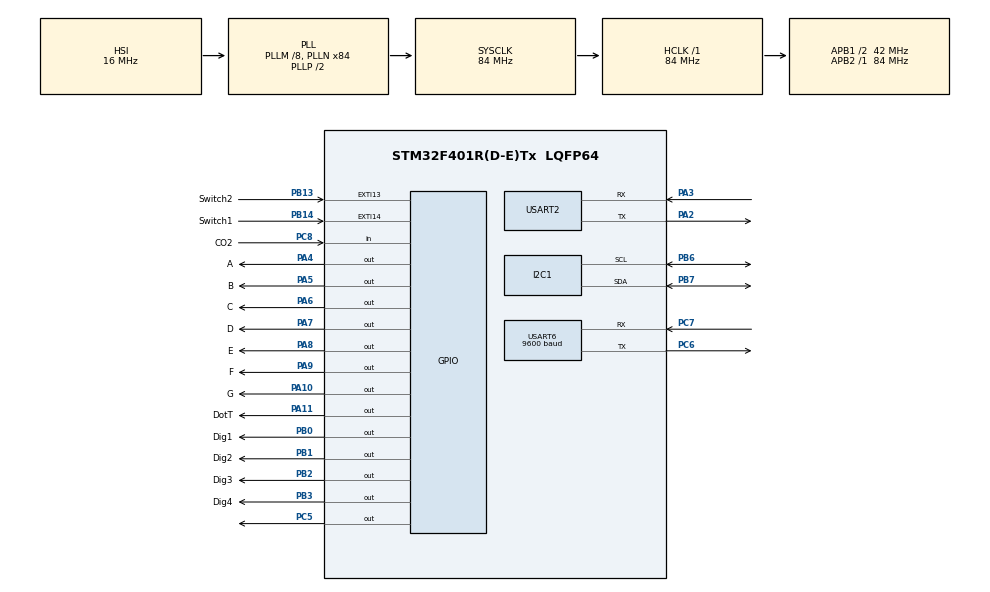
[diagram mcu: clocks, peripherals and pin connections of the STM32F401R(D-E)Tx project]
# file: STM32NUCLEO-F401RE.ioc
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Mcu.Family=STM32F4
Mcu.Name=STM32F401R(D-E)Tx
Mcu.Package=LQFP64
NVIC.EXTI15_10_IRQn=true\:0\:0\:false\:true\:true\:2\:true\:true
NVIC.PriorityGroup=NVIC_PRIORITYGROUP_0
NVIC.RCC_IRQn=true\:0\:0\:false\:false\:true\:true\:false
NVIC.TIM1_TRG_COM_TIM11_IRQn=true\:0\:0\:false\:true\:true\:1\:true\:true
NVIC.TIM1_UP_TIM10_IRQn=true\:0\:0\:false\:false\:true\:false\:true
NVIC.TIM2_IRQn=true\:0\:0\:false\:false\:true\:true\:true
NVIC.TimeBase=TIM1_UP_TIM10_IRQn
NVIC.TimeBaseIP=TIM1
NVIC.USART6_IRQn=true\:0\:0\:false\:false\:true\:true\:true
PA10.GPIO_Label=G
PA10.Signal=GPIO_Output
PA11.GPIO_Label=DotT
PA11.Signal=GPIO_Output
PA13.Mode=Serial_Wire
PA13.Signal=SYS_JTMS-SWDIO
PA14.Mode=Serial_Wire
PA14.Signal=SYS_JTCK-SWCLK
PA2.Mode=Asynchronous
PA2.Signal=USART2_TX
PA3.Mode=Asynchronous
PA3.Signal=USART2_RX
PA4.GPIO_Label=A
PA4.Signal=GPIO_Output
PA5.GPIO_Label=B
PA5.Signal=GPIO_Output
PA6.GPIO_Label=C
PA6.Signal=GPIO_Output
PA7.GPIO_Label=D
PA7.Signal=GPIO_Output
PA8.GPIO_Label=E
PA8.Signal=GPIO_Output
PA9.GPIO_Label=F
PA9.Signal=GPIO_Output
PB0.GPIO_Label=Dig1
PB0.Signal=GPIO_Output
PB1.GPIO_Label=Dig2
PB1.Signal=GPIO_Output
PB13.GPIO_Label=Switch2
PB13.GPIO_PuPd=GPIO_PULLDOWN
PB13.Signal=GPXTI13
PB14.GPIO_Label=Switch1
PB14.GPIO_PuPd=GPIO_PULLDOWN
PB14.Signal=GPXTI14
PB2.GPIO_Label=Dig3
PB2.Signal=GPIO_Output
PB3.GPIO_Label=Dig4
PB3.Signal=GPIO_Output
PB6.GPIO_Pu=GPIO_PULLUP
PB6.Mode=I2C
PB6.Signal=I2C1_SCL
PB7.GPIO_Pu=GPIO_PULLUP
PB7.Mode=I2C
PB7.Signal=I2C1_SDA
PC5.Signal=GPIO_Output
PC6.Mode=Asynchronous
PC6.Signal=USART6_TX
PC7.Mode=Asynchronous
PC7.Signal=USART6_RX
PC8.GPIO_Label=CO2
PC8.Signal=GPIO_Input
PH0\ -\ OSC_IN.Mode=HSE-External-Oscillator
PH0\ -\ OSC_IN.Signal=RCC_OSC_IN
PH1\ -\ OSC_OUT.Mode=HSE-External-Oscillator
PH1\ -\ OSC_OUT.Signal=RCC_OSC_OUT
ProjectManager.HeapSize=0x200
ProjectManager.StackSize=0x400
ProjectManager.TargetToolchain=STM32CubeIDE
RCC.48MHZClocksFreq_Value=24000000
RCC.AHBFreq_Value=84000000
RCC.APB1CLKDivider=RCC_HCLK_DIV2
RCC.APB1Freq_Value=42000000
RCC.APB1TimFreq_Value=84000000
RCC.APB2Freq_Value=84000000
RCC.APB2TimFreq_Value=84000000
RCC.CortexFreq_Value=84000000
RCC.HCLKFreq_Value=84000000
RCC.HSE_VALUE=8000000
RCC.HSI_VALUE=16000000
RCC.LSE_VALUE=32768
RCC.PLLM=8
RCC.PLLN=84
RCC.PLLQ=7
RCC.SYSCLKFreq_VALUE=84000000
RCC.SYSCLKSource=RCC_SYSCLKSOURCE_PLLCLK
RCC.VCOOutputFreq_Value=168000000
TIM10.Period=8400-1
TIM10.Prescaler=10000-1
TIM11.Period=840-1
TIM11.Prescaler=100-1
TIM2.Period=0xffff-1
TIM2.Prescaler=84-1
USART2.VirtualMode=VM_ASYNC
USART6.BaudRate=9600
USART6.VirtualMode=VM_ASYNC
VP_SYS_VS_tim1.Mode=TIM1
VP_TIM10_VS_ClockSourceINT.Mode=Enable_Timer
VP_TIM11_VS_ClockSourceINT.Mode=Enable_Timer
VP_TIM2_VS_ClockSourceINT.Mode=Internal
board=NUCLEO-F401RE

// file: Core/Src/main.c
/* USER CODE BEGIN Header */
/**
  ******************************************************************************
  * @file           : main.c
  * @brief          : Main program body
  ******************************************************************************
  * @attention
  *
  * <h2><center>&copy; Copyright (c) 2021 STMicroelectronics.
  * All rights reserved.</center></h2>
  *
  * This software component is licensed by ST under BSD 3-Clause license,
  * the "License"; You may not use this file except in compliance with the
  * License. You may obtain a copy of the License at:
  *                        opensource.org/licenses/BSD-3-Clause
  *
  ******************************************************************************
  */
/* USER CODE END Header */
#include "main.h"

/* USER CODE BEGIN Includes */
#include "lcd16x2_i2c.h"
#include "stm32f4xx_hal.h"
#include <stdio.h>
#include <stdlib.h>

/* USER CODE END Includes */

I2C_HandleTypeDef hi2c1;

TIM_HandleTypeDef htim2;
TIM_HandleTypeDef htim10;
TIM_HandleTypeDef htim11;

UART_HandleTypeDef huart2;
UART_HandleTypeDef huart6;

/* USER CODE BEGIN PV */

//세그먼트 변수
int Seg_Out = 525; //세그먼트에 표시될 숫자
char second = 0; //세그먼트용 60초 카운트
uint8_t ms = 0; //세그먼트3ms 카운트
int segdig = 0;//세그먼트 출력 자릿수 지정

//Uart 변수
uint8_t rx2_data;
char Uart_Loop_Time = 0;//Uart 10초 카운트
uint8_t rx6_data[56];//uart6 버퍼

//LCD 변수
char Line1[17];
char Line2[17];
char lcd = -3; //LCD 시간 카운트

//온습도

float temp_Humi[2] = {0.0, 0.0};
float temp = 0;
float humi = 0;
char DHT22_Loop_Time = -1;//온습도 5초마다 측정
char DHT22_Elapsed_Time = 0;
char DHT22_Stat_Check = 0;

//Co2
int C; //CO2 level
char CO2_Pin_State= 0;//현재 핀 상태
char OLD_CO2_Pin_State = 0;//이전 핀 상태
uint32_t CO2ms = 0; //CO2PWM 주기 카운트 시간
int rising_time;//라이징 엣지 시간
int falling_time;// 폴링엣지 시간
int rerising_time;//다음 주기 라이징 엣지 시간
char rising_check = 0;  //타이머에서 어떤거 체크할 순서인지 기록
char falling_check = 0;
char rerising_check = 0;
uint32_t TH; // High 시간
uint32_t TL; //Low 시간

//먼지 센서
int dust = 0;
char Dust_time = 0;

//디버그, 개발용 변수
uint32_t Old_Loop_Count = 0;
uint32_t Loop_Count;

/* USER CODE END PV */

void SystemClock_Config(void);
static void MX_GPIO_Init(void);
static void MX_I2C1_Init(void);
static void MX_TIM10_Init(void);
static void MX_TIM11_Init(void);
static void MX_USART2_UART_Init(void);
static void MX_TIM2_Init(void);
static void MX_USART6_UART_Init(void);
static void MX_NVIC_Init(void);

/* USER CODE BEGIN 0 */
void HAL_TIM_PeriodElapsedCallback(TIM_HandleTypeDef *htim);

void Seg_Off(void){//다음 세그먼트 출력전 모두 꺼서 잔상 없애기
	HAL_GPIO_WritePin(GPIOA, A_Pin|B_Pin|C_Pin|D_Pin|E_Pin|F_Pin|G_Pin, 0); //세그먼트 구성 핀 모두 끄기
	HAL_GPIO_WritePin(GPIOB, Dig1_Pin|Dig2_Pin|Dig3_Pin|Dig4_Pin, 1); //세그먼트 Dgit핀 모두 끄기
}

void Segment() { //세그먼트 숫자 출력
	unsigned char List_Of_Segment_Info[10] = { 0xC0, 0xF9, 0xA4, 0xB0, 0x99,
			0x92, 0x82, 0xD8, 0x80, 0x98 };
	int addr[4];
	Seg_Off(); // 모든 세그먼트 끄기

	if (Seg_Out % 100 == 60) { //60분, 24시간 카운트
		Seg_Out += 40;
	} else if (Seg_Out >= 2400) {
		Seg_Out = 0;
	}

	addr[0] = Seg_Out / 1000;
	addr[1] = Seg_Out % 1000 / 100;
	addr[2] = Seg_Out % 100 / 10;
	addr[3] = Seg_Out % 10;

	uint16_t i[4] = { 1, 2, 4, 8 }; //세그먼트 Dgit 조정
	HAL_GPIO_WritePin(GPIOB, i[segdig], 0);

	uint16_t j = 0; //출력 핀과 입력 값의 비트연산을 위한 변수

	j |= (~(List_Of_Segment_Info[addr[segdig]] & 0xFF)) << 4; //PA4 부터로 옮기고시프트 4로 변경
	HAL_GPIO_WritePin(GPIOA, j, 1);

	segdig++;
	if (segdig == 4) {
		segdig = 0;
	}

}

void check_Dust() {

	uint8_t dust_Check_Uart_String[10] = { 0x11, 0x02, 0x0B, 0x07, 0xDB };
	HAL_UART_Transmit(&huart6, (uint8_t*) dust_Check_Uart_String, 5, 0xFF);

}

void check_CO2(){

	TH =  falling_time - rising_time;
	TL = rerising_time - falling_time;
	C = 2000*(TH-2)/(TH+TL-4)+250;

	rising_time = 0;
	falling_time  = 0;
	rerising_time = 0;

}

void LCD_Load_Print() {

	sprintf(Line1, "Air-Alarm V1.0.0");
	sprintf(Line2, "Air Monitor");
	lcd16x2_i2c_clear();
	lcd16x2_i2c_setCursor(0, 0);
	lcd16x2_i2c_printf(Line1);
	lcd16x2_i2c_setCursor(1, 0);
	lcd16x2_i2c_printf(Line2);
	lcd = 0;

}

void DHT_Startbit() {
	GPIO_InitTypeDef GPIO_InitStruct = { 0 }; //아웃풋 모드로 변경
	HAL_GPIO_WritePin(GPIOC, GPIO_PIN_5, 1);
	GPIO_InitStruct.Pin = GPIO_PIN_5;
	GPIO_InitStruct.Mode = GPIO_MODE_OUTPUT_OD;
	GPIO_InitStruct.Pull = GPIO_PULLUP;
	GPIO_InitStruct.Speed = GPIO_SPEED_FREQ_HIGH;
	HAL_GPIO_Init(GPIOC, &GPIO_InitStruct);

	HAL_GPIO_WritePin(GPIOC, GPIO_PIN_5, 0);

}

char DHT_getData() { // 다음 측정주기까지1ms 이상 여유 있어야함.
	HAL_GPIO_WritePin(GPIOC, GPIO_PIN_5, 1);

	GPIO_InitTypeDef GPIO_InitStruct = { 0 }; //인풋 모드로 변경
	GPIO_InitStruct.Pin = GPIO_PIN_5;
	GPIO_InitStruct.Mode = GPIO_MODE_INPUT;
	GPIO_InitStruct.Pull = GPIO_PULLUP;
	HAL_GPIO_Init(GPIOC, &GPIO_InitStruct);

	uint16_t timeout = 0;
	while (HAL_GPIO_ReadPin(GPIOC, GPIO_PIN_5)) {
		timeout++;
		if (timeout > 10000)
			return 1; //10000회 반복동안 값 안들어오면 측정하지 않고 리턴
	}
	timeout = 0;

	while (!(HAL_GPIO_ReadPin(GPIOC, GPIO_PIN_5))) {
		timeout++;
		if (timeout > 10000)
			return 1;
	}
	timeout = 0;

	while (HAL_GPIO_ReadPin(GPIOC, GPIO_PIN_5)) {
		timeout++;
		if (timeout > 10000)
			return 1;
	}

	uint8_t rawData[5] = { 0, 0, 0, 0, 0 };
	for (uint8_t a = 0; a < 5; a++) {
		for (uint8_t b = 7; b != 255; b--) {
			uint32_t hT = 0, lT = 0;

			while (!(HAL_GPIO_ReadPin(GPIOC, GPIO_PIN_5)))
				lT++;

			timeout = 0;
			while (HAL_GPIO_ReadPin(GPIOC, GPIO_PIN_5))
				hT++;
			if (hT > lT)
				rawData[a] |= (1 << b);
		}
	}

	if ((uint8_t) (rawData[0] + rawData[1] + rawData[2] + rawData[3])
			== rawData[4]) { //오류 검사
		temp_Humi[1] = (float) (((uint16_t) rawData[0] << 8) | rawData[1])
				* 0.1f;
		if (!(rawData[2] & (1 << 7))) {

			temp_Humi[0] = (float) (((uint16_t) rawData[2] << 8) | rawData[3])
					* 0.1f;
		} else {
			rawData[2] &= ~(1 << 7);
			temp_Humi[0] = (float) (((uint16_t) rawData[2] << 8) | rawData[3])
					* -0.1f;
		}
	}
	return 0; // 정상 종료
}

void HAL_GPIO_EXTI_Callback(uint16_t GPIO_Pin) //GPIO 인터럽트 콜백
{

	if (GPIO_Pin == 0x2000) {	//버튼 눌르면 1분 올리기

		int gap =
				Loop_Count < Old_Loop_Count ?
						Old_Loop_Count - Loop_Count :
						Loop_Count - Old_Loop_Count;

		if (gap > 150) {
			Seg_Out++;

		}
		Old_Loop_Count = Loop_Count;
	}

	else if (GPIO_Pin == 0x4000) {

		int gap =
				Loop_Count < Old_Loop_Count ?
						Old_Loop_Count - Loop_Count :
						Loop_Count - Old_Loop_Count;

		if (gap > 150) {
			Seg_Out = Seg_Out + 100; //1시간 올리기

		}
		Old_Loop_Count = Loop_Count;

	}

	/* Prevent unused argument(s) compilation warning */
	UNUSED(GPIO_Pin);
	/* NOTE: This function Should not be modified, when the callback is needed,
	 the HAL_GPIO_EXTI_Callback could be implemented in the user file
	 */
}

void HAL_UART_RxCpltCallback(UART_HandleTypeDef *huart) {

	if (huart->Instance == USART6) {
		if (rx6_data[0] == 0x16) {
			char DF9 = rx6_data[11];
			char DF10 = rx6_data[12];
			char DF11 = rx6_data[13];
			char DF12 = rx6_data[14];
			dust = (DF9 << 24) + (DF10 << 16) + (DF11 << 8) + DF12;
			HAL_UART_Receive_IT(&huart6, (uint8_t*) rx6_data, 56);

		}

	}

}

/* USER CODE END 0 */

int main(void)
{

  /* MCU Configuration--------------------------------------------------------*/

  /* Reset of all peripherals, Initializes the Flash interface and the Systick. */
  HAL_Init();

  /* Configure the system clock */
  SystemClock_Config();

  /* Initialize all configured peripherals */
  MX_GPIO_Init();
  MX_I2C1_Init();
  MX_TIM10_Init();
  MX_TIM11_Init();
  MX_USART2_UART_Init();
  MX_TIM2_Init();
  MX_USART6_UART_Init();

  /* Initialize interrupts */
  MX_NVIC_Init();
  /* USER CODE BEGIN 2 */
  HAL_UART_Receive_IT(&huart6, (uint8_t*)rx6_data, 56);//Uart6 리시브 인터럽트 활성화
  HAL_TIM_Base_Start_IT(&htim10);//타이머 10 시작 1ms
  HAL_TIM_Base_Start_IT(&htim11);//타이머 11 시작 1s
  if(lcd16x2_i2c_init(&hi2c1)){//LCD init 하기
 	 HAL_GPIO_WritePin(GPIOC, GPIO_PIN_10, 1);
  }
  lcd16x2_i2c_clear();

  LCD_Load_Print();
  rising_check = 1;//Co2 라이징 포인트부터 잡기

  /* USER CODE END 2 */

  /* Infinite loop */
  /* USER CODE BEGIN WHILE */
  while (1)
  {

		if (ms > 1) {
			Segment(); //1ms마다 세븐세그먼트를 출력
			ms = 0;
		}

		if (rising_time < falling_time && falling_time < rerising_time) {//Co2 측정
			check_CO2();
		}

		if (Dust_time > 4) {//미세먼지 측정
			check_Dust();
			Dust_time = 0;
		}

		if (DHT22_Loop_Time > 5 || DHT22_Loop_Time == -1) //5초마다 온도 측정 스타트 비트 실행하고 진행
				{
			if (DHT22_Stat_Check == 0) {
				DHT_Startbit();
				DHT22_Elapsed_Time = 0;
				DHT22_Stat_Check = 1;
			}
		}

		if (DHT22_Stat_Check && DHT22_Elapsed_Time > 17) //스타트 비트 출력 17ms 이상 경과한경우 읽기 시작
				{
			char DHT_Return = DHT_getData();
			if (DHT_Return == 1) { //타임아웃 리턴받은경우 다음 루프때 다시 측정하기
				DHT22_Loop_Time = -1;
			}
			DHT22_Stat_Check = 0;
			DHT22_Loop_Time = 0;
		}

		if (lcd > 5 || lcd == -1) {//10초마다 LCD 출력
			sprintf(Line1, "T: %2.1f  D: %d", temp_Humi[0], dust);
			sprintf(Line2, "H: %2.1f  C: %d", temp_Humi[1], C);
			lcd16x2_i2c_clear();
			lcd16x2_i2c_setCursor(0, 0);
			lcd16x2_i2c_printf(Line1);
			lcd16x2_i2c_setCursor(1, 0);
			lcd16x2_i2c_printf(Line2);
			lcd = 0;
		}

		if (Uart_Loop_Time >= 10) {//10초마다 Uart 라즈베리파이로 전송
			char msg[40];
			sprintf(msg, "W:%d,T:%2.1f,H:%2.1f,D:%d,C:%d\n", Seg_Out,
					temp_Humi[0], temp_Humi[1], dust, C);
			HAL_UART_Transmit(&huart2, (uint8_t*) msg, strlen(msg), 0xFF);
			Uart_Loop_Time = 0;
		}

    /* USER CODE END WHILE */

  }
}

void SystemClock_Config(void)
{
  RCC_OscInitTypeDef RCC_OscInitStruct = {0};
  RCC_ClkInitTypeDef RCC_ClkInitStruct = {0};

  /** Configure the main internal regulator output voltage
  */
  __HAL_RCC_PWR_CLK_ENABLE();
  __HAL_PWR_VOLTAGESCALING_CONFIG(PWR_REGULATOR_VOLTAGE_SCALE2);
  /** Initializes the RCC Oscillators according to the specified parameters
  * in the RCC_OscInitTypeDef structure.
  */
  RCC_OscInitStruct.OscillatorType = RCC_OSCILLATORTYPE_HSI;
  RCC_OscInitStruct.HSIState = RCC_HSI_ON;
  RCC_OscInitStruct.HSICalibrationValue = RCC_HSICALIBRATION_DEFAULT;
  RCC_OscInitStruct.PLL.PLLState = RCC_PLL_ON;
  RCC_OscInitStruct.PLL.PLLSource = RCC_PLLSOURCE_HSI;
  RCC_OscInitStruct.PLL.PLLM = 8;
  RCC_OscInitStruct.PLL.PLLN = 84;
  RCC_OscInitStruct.PLL.PLLP = RCC_PLLP_DIV2;
  RCC_OscInitStruct.PLL.PLLQ = 7;
  if (HAL_RCC_OscConfig(&RCC_OscInitStruct) != HAL_OK)
  {
    Error_Handler();
  }
  /** Initializes the CPU, AHB and APB buses clocks
  */
  RCC_ClkInitStruct.ClockType = RCC_CLOCKTYPE_HCLK|RCC_CLOCKTYPE_SYSCLK
                              |RCC_CLOCKTYPE_PCLK1|RCC_CLOCKTYPE_PCLK2;
  RCC_ClkInitStruct.SYSCLKSource = RCC_SYSCLKSOURCE_PLLCLK;
  RCC_ClkInitStruct.AHBCLKDivider = RCC_SYSCLK_DIV1;
  RCC_ClkInitStruct.APB1CLKDivider = RCC_HCLK_DIV2;
  RCC_ClkInitStruct.APB2CLKDivider = RCC_HCLK_DIV1;

  if (HAL_RCC_ClockConfig(&RCC_ClkInitStruct, FLASH_LATENCY_2) != HAL_OK)
  {
    Error_Handler();
  }
}

/**
  * @brief NVIC Configuration.
  * @retval None
  */
static void MX_NVIC_Init(void)
{
  /* TIM1_TRG_COM_TIM11_IRQn interrupt configuration */
  HAL_NVIC_SetPriority(TIM1_TRG_COM_TIM11_IRQn, 0, 0);
  HAL_NVIC_EnableIRQ(TIM1_TRG_COM_TIM11_IRQn);
  /* EXTI15_10_IRQn interrupt configuration */
  HAL_NVIC_SetPriority(EXTI15_10_IRQn, 0, 0);
  HAL_NVIC_EnableIRQ(EXTI15_10_IRQn);
}

static void MX_I2C1_Init(void)
{

  hi2c1.Instance = I2C1;
  hi2c1.Init.ClockSpeed = 100000;
  hi2c1.Init.DutyCycle = I2C_DUTYCYCLE_2;
  hi2c1.Init.OwnAddress1 = 0;
  hi2c1.Init.AddressingMode = I2C_ADDRESSINGMODE_7BIT;
  hi2c1.Init.DualAddressMode = I2C_DUALADDRESS_DISABLE;
  hi2c1.Init.OwnAddress2 = 0;
  hi2c1.Init.GeneralCallMode = I2C_GENERALCALL_DISABLE;
  hi2c1.Init.NoStretchMode = I2C_NOSTRETCH_DISABLE;
  if (HAL_I2C_Init(&hi2c1) != HAL_OK)
  {
    Error_Handler();
  }

}

static void MX_TIM2_Init(void)
{

  TIM_ClockConfigTypeDef sClockSourceConfig = {0};
  TIM_MasterConfigTypeDef sMasterConfig = {0};

  htim2.Instance = TIM2;
  htim2.Init.Prescaler = 84-1;
  htim2.Init.CounterMode = TIM_COUNTERMODE_UP;
  htim2.Init.Period = 0xffff-1;
  htim2.Init.ClockDivision = TIM_CLOCKDIVISION_DIV1;
  htim2.Init.AutoReloadPreload = TIM_AUTORELOAD_PRELOAD_DISABLE;
  if (HAL_TIM_Base_Init(&htim2) != HAL_OK)
  {
    Error_Handler();
  }
  sClockSourceConfig.ClockSource = TIM_CLOCKSOURCE_INTERNAL;
  if (HAL_TIM_ConfigClockSource(&htim2, &sClockSourceConfig) != HAL_OK)
  {
    Error_Handler();
  }
  sMasterConfig.MasterOutputTrigger = TIM_TRGO_RESET;
  sMasterConfig.MasterSlaveMode = TIM_MASTERSLAVEMODE_DISABLE;
  if (HAL_TIMEx_MasterConfigSynchronization(&htim2, &sMasterConfig) != HAL_OK)
  {
    Error_Handler();
  }

}

static void MX_TIM10_Init(void)
{

  htim10.Instance = TIM10;
  htim10.Init.Prescaler = 10000-1;
  htim10.Init.CounterMode = TIM_COUNTERMODE_UP;
  htim10.Init.Period = 8400-1;
  htim10.Init.ClockDivision = TIM_CLOCKDIVISION_DIV1;
  htim10.Init.AutoReloadPreload = TIM_AUTORELOAD_PRELOAD_DISABLE;
  if (HAL_TIM_Base_Init(&htim10) != HAL_OK)
  {
    Error_Handler();
  }

}

static void MX_TIM11_Init(void)
{

  htim11.Instance = TIM11;
  htim11.Init.Prescaler = 100-1;
  htim11.Init.CounterMode = TIM_COUNTERMODE_UP;
  htim11.Init.Period = 840-1;
  htim11.Init.ClockDivision = TIM_CLOCKDIVISION_DIV1;
  htim11.Init.AutoReloadPreload = TIM_AUTORELOAD_PRELOAD_DISABLE;
  if (HAL_TIM_Base_Init(&htim11) != HAL_OK)
  {
    Error_Handler();
  }

}

static void MX_USART2_UART_Init(void)
{

  huart2.Instance = USART2;
  huart2.Init.BaudRate = 9600;
  huart2.Init.WordLength = UART_WORDLENGTH_8B;
  huart2.Init.StopBits = UART_STOPBITS_1;
  huart2.Init.Parity = UART_PARITY_NONE;
  huart2.Init.Mode = UART_MODE_TX_RX;
  huart2.Init.HwFlowCtl = UART_HWCONTROL_NONE;
  huart2.Init.OverSampling = UART_OVERSAMPLING_16;
  if (HAL_UART_Init(&huart2) != HAL_OK)
  {
    Error_Handler();
  }

}

static void MX_USART6_UART_Init(void)
{

  huart6.Instance = USART6;
  huart6.Init.BaudRate = 9600;
  huart6.Init.WordLength = UART_WORDLENGTH_8B;
  huart6.Init.StopBits = UART_STOPBITS_1;
  huart6.Init.Parity = UART_PARITY_NONE;
  huart6.Init.Mode = UART_MODE_TX_RX;
  huart6.Init.HwFlowCtl = UART_HWCONTROL_NONE;
  huart6.Init.OverSampling = UART_OVERSAMPLING_16;
  if (HAL_UART_Init(&huart6) != HAL_OK)
  {
    Error_Handler();
  }

}

static void MX_GPIO_Init(void)
{
  GPIO_InitTypeDef GPIO_InitStruct = {0};

  /* GPIO Ports Clock Enable */
  __HAL_RCC_GPIOH_CLK_ENABLE();
  __HAL_RCC_GPIOA_CLK_ENABLE();
  __HAL_RCC_GPIOC_CLK_ENABLE();
  __HAL_RCC_GPIOB_CLK_ENABLE();

  /*Configure GPIO pin Output Level */
  HAL_GPIO_WritePin(GPIOA, A_Pin|B_Pin|C_Pin|D_Pin
                          |E_Pin|F_Pin|G_Pin|DotT_Pin, GPIO_PIN_RESET);

  /*Configure GPIO pin Output Level */
  HAL_GPIO_WritePin(GPIOC, GPIO_PIN_5, GPIO_PIN_RESET);

  /*Configure GPIO pin Output Level */
  HAL_GPIO_WritePin(GPIOB, Dig1_Pin|Dig2_Pin|Dig3_Pin|Dig4_Pin, GPIO_PIN_RESET);

  /*Configure GPIO pins : A_Pin B_Pin C_Pin D_Pin
                           E_Pin F_Pin G_Pin DotT_Pin */
  GPIO_InitStruct.Pin = A_Pin|B_Pin|C_Pin|D_Pin
                          |E_Pin|F_Pin|G_Pin|DotT_Pin;
  GPIO_InitStruct.Mode = GPIO_MODE_OUTPUT_PP;
  GPIO_InitStruct.Pull = GPIO_NOPULL;
  GPIO_InitStruct.Speed = GPIO_SPEED_FREQ_LOW;
  HAL_GPIO_Init(GPIOA, &GPIO_InitStruct);

  /*Configure GPIO pin : PC5 */
  GPIO_InitStruct.Pin = GPIO_PIN_5;
  GPIO_InitStruct.Mode = GPIO_MODE_OUTPUT_PP;
  GPIO_InitStruct.Pull = GPIO_NOPULL;
  GPIO_InitStruct.Speed = GPIO_SPEED_FREQ_LOW;
  HAL_GPIO_Init(GPIOC, &GPIO_InitStruct);

  /*Configure GPIO pins : Dig1_Pin Dig2_Pin Dig3_Pin Dig4_Pin */
  GPIO_InitStruct.Pin = Dig1_Pin|Dig2_Pin|Dig3_Pin|Dig4_Pin;
  GPIO_InitStruct.Mode = GPIO_MODE_OUTPUT_PP;
  GPIO_InitStruct.Pull = GPIO_NOPULL;
  GPIO_InitStruct.Speed = GPIO_SPEED_FREQ_LOW;
  HAL_GPIO_Init(GPIOB, &GPIO_InitStruct);

  /*Configure GPIO pins : Switch2_Pin Switch1_Pin */
  GPIO_InitStruct.Pin = Switch2_Pin|Switch1_Pin;
  GPIO_InitStruct.Mode = GPIO_MODE_IT_RISING;
  GPIO_InitStruct.Pull = GPIO_PULLDOWN;
  HAL_GPIO_Init(GPIOB, &GPIO_InitStruct);

  /*Configure GPIO pin : CO2_Pin */
  GPIO_InitStruct.Pin = CO2_Pin;
  GPIO_InitStruct.Mode = GPIO_MODE_INPUT;
  GPIO_InitStruct.Pull = GPIO_NOPULL;
  HAL_GPIO_Init(CO2_GPIO_Port, &GPIO_InitStruct);

}

void HAL_TIM_PeriodElapsedCallback(TIM_HandleTypeDef *htim)
{
  /* USER CODE BEGIN Callback 0 */

	if(htim->Instance == TIM10){//타이머6 인터럽트 실행(1초)

	  HAL_GPIO_TogglePin(GPIOA, DotT_Pin); //세그먼트 시계 중앙 도트 점멸
	  DHT22_Loop_Time++; //DHT 센서 타이머 카운트
	  if(second >= 60){//60초 마다 세븐세그먼트(시계) 출력값 ++
		  Seg_Out++;
		  second = 0;
	  }
	  lcd++; //LCD 출력 시간 카운트
	  second++;
	  Uart_Loop_Time++;
	  Dust_time++;

	}
	if(htim->Instance == TIM11){//타이머6 인터럽트 실행(1ms)
		Loop_Count++;
		ms++;
		CO2ms++;
		DHT22_Elapsed_Time++;

		//checkms++;
		CO2_Pin_State = HAL_GPIO_ReadPin(GPIOC, GPIO_PIN_8);

		if (rising_check == 1 && CO2_Pin_State != OLD_CO2_Pin_State && CO2_Pin_State == 1){ //라이징 엣지
			CO2ms = 0;
			rising_time = CO2ms;
			rising_check = 0;
			falling_time = 0;
			falling_check = 1;
		}

		if (falling_check && CO2_Pin_State != OLD_CO2_Pin_State && CO2_Pin_State == 0){ //폴링 엣지
			falling_check = 0;
			falling_time = CO2ms;
			rerising_time = 0;
			rerising_check = 1;
		}

		if (rerising_check == 1 && CO2_Pin_State != OLD_CO2_Pin_State && CO2_Pin_State == 1){ //다음 라이징 엣지
			rerising_time = CO2ms;
			rerising_check = 0;
			rising_check = 1;

		}

		OLD_CO2_Pin_State = CO2_Pin_State;

		}
  /* USER CODE END Callback 0 */
  if (htim->Instance == TIM1) {
    HAL_IncTick();
  }
}

void Error_Handler(void)
{
  __disable_irq();
  while (1)
  {
  }
}

/************************ (C) COPYRIGHT STMicroelectronics *****END OF FILE****/
